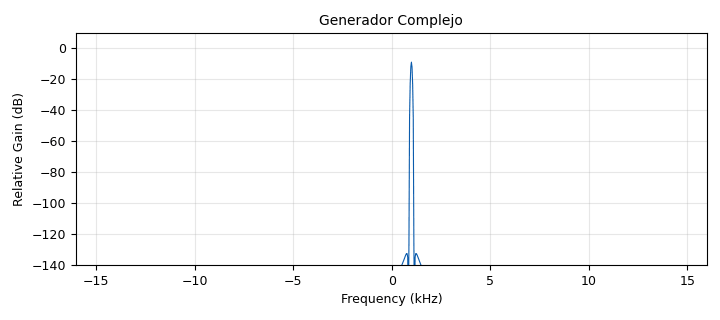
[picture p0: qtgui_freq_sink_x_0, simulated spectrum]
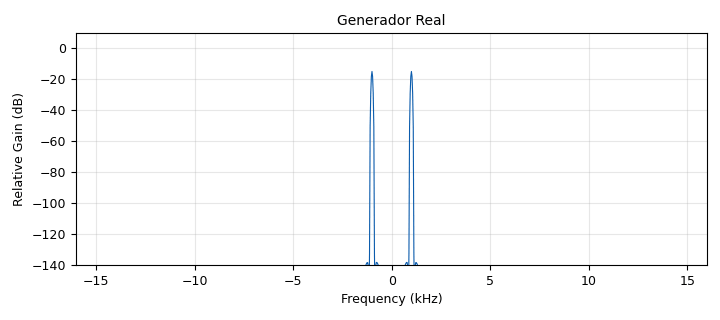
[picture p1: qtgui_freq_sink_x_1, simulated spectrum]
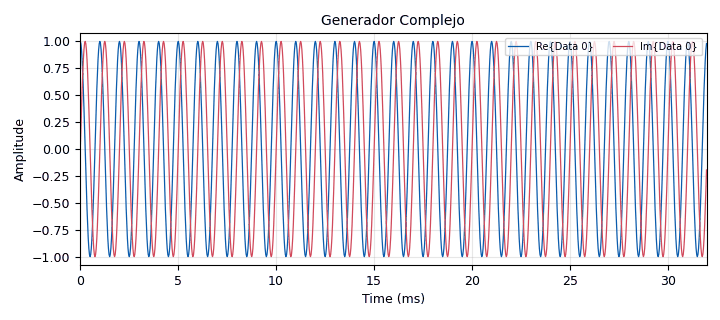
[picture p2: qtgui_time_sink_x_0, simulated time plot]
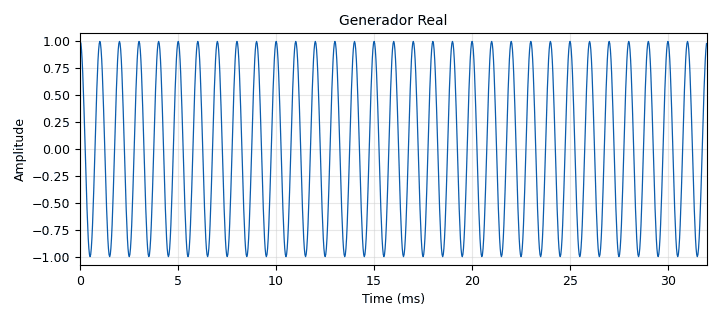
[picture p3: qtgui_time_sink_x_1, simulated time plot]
options:
  parameters:
    generate_options: qt_gui
    id: top_block
    output_language: python
  states: {}

blocks:
- name: samp_rate
  id: variable
  parameters:
    value: '32000'
  states: {}
- name: analog_sig_source_x_0
  id: analog_sig_source_x
  parameters:
    amp: '1'
    freq: '1000'
    offset: '0'
    phase: '0'
    samp_rate: samp_rate
    type: float
    waveform: analog.GR_COS_WAVE
  states: {}
- name: analog_sig_source_x_1
  id: analog_sig_source_x
  parameters:
    amp: '1'
    freq: '1000'
    offset: '0'
    phase: '0'
    samp_rate: samp_rate
    type: complex
    waveform: analog.GR_COS_WAVE
  states: {}
- name: qtgui_freq_sink_x_0
  id: qtgui_freq_sink_x
  parameters:
    bw: samp_rate
    fc: '0'
    fftsize: '1024'
    gui_hint: view_tabs@1
    name: '"Generador Complejo"'
    showports: 'True'
    tr_mode: qtgui.TRIG_MODE_AUTO
    type: complex
    wintype: firdes.WIN_BLACKMAN_hARRIS
  states: {}
- name: qtgui_freq_sink_x_1
  id: qtgui_freq_sink_x
  parameters:
    bw: samp_rate
    fc: '0'
    fftsize: '1024'
    gui_hint: view_tabs@1
    name: '"Generador Real"'
    showports: 'True'
    type: float
    wintype: firdes.WIN_BLACKMAN_hARRIS
  states: {}
- name: qtgui_time_sink_x_0
  id: qtgui_time_sink_x
  parameters:
    gui_hint: view_tabs@0
    label1: ''
    label2: ''
    name: '"Generador Complejo"'
    size: '1024'
    srate: samp_rate
    type: complex
  states: {}
- name: qtgui_time_sink_x_1
  id: qtgui_time_sink_x
  parameters:
    gui_hint: view_tabs@0
    label1: ''
    name: '"Generador Real"'
    size: '1024'
    srate: samp_rate
    type: float
  states: {}
- name: view_tabs
  id: qtgui_tab_widget
  parameters:
    label0: Tiempo
    label1: Frecuencia
    num_tabs: '2'
  states: {}

connections:
- [analog_sig_source_x_0, '0', qtgui_freq_sink_x_1, '0']
- [analog_sig_source_x_0, '0', qtgui_time_sink_x_1, '0']
- [analog_sig_source_x_1, '0', qtgui_freq_sink_x_0, '0']
- [analog_sig_source_x_1, '0', qtgui_time_sink_x_0, '0']

metadata:
  file_format: 1
